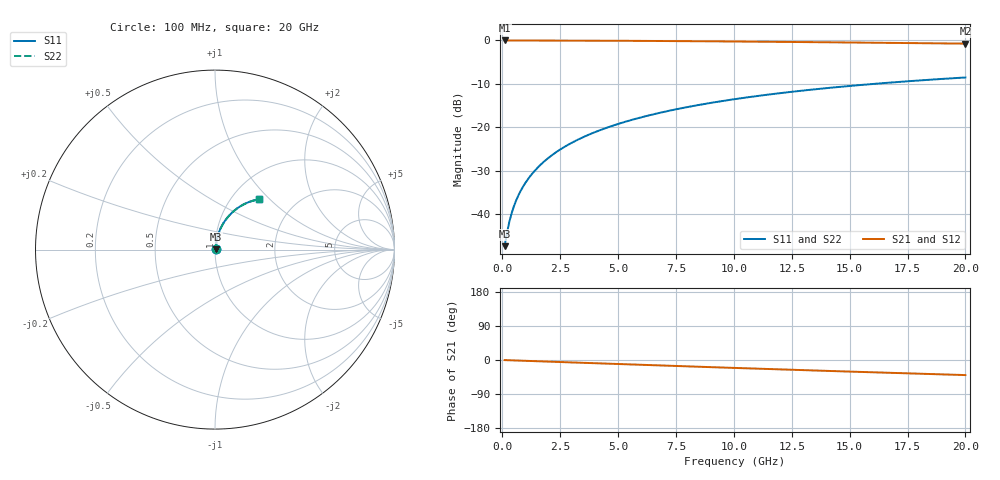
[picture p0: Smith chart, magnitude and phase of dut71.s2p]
! Touchstone file exported from HFSS 2026.1.0
!  File:  C:/ffzhzh/LocalFiles/Ansys_Project_Files/temp_train_BSMRDL_71_1782882875_8056.aedt
!  Generated:  01:15:50 PM Jul  1, 2026
!  Design:  BSMRDL
!  Project:  temp_train_BSMRDL_71_1782882875_8056
! Variables:
!  h_bsmrdl = 2.85um
!  h_ox = 20um
!  h_rdl = 5um
!  h_sub = 80um
!  h_tmrdl = 5um
!  h_tsv = 80um
!  h_via = 3um
!  l_bsmrdl = 565.92um
!  l_sub = 965.92um
!  l_tmrdl = 200um
!  m_sub = 200um
!  pitch = 47.1um
!  r_tsv = 6um
!  s_tmrdl = 10um
!  w_bsmrdl = 21.11um
!  w_sub = 500um
!  w_tmrdl = 12um
!  x_tsv_center1 = 206um
!  x_tsv_center2 = 793.03um
!  x_tsv_center3 = 1005.03um
!  x_tsv_center4 = 1592.06um
!  x_tsv_center5 = 1804.06um
!  x_tsv_center6 = 2391.09um
# GHz S MA R 50.000000
! Terminal data exported
! Port[1] = BSM_RDL1_1_T1
! Port[2] = BSM_RDL1_1_T2
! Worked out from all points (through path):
!   200 points, 100 MHz to 20 GHz, reference 50 ohm
!   highest |S21| = -0.03 dB at 100 MHz (marker M1); lowest = -0.8 dB at 20 GHz (marker M2)
!   group delay of S21, straight-line fit = 5.53 ps
!   lowest |S11| = -47.3 dB at 100 MHz (marker M3), VSWR 1.01, Z = 50.4 + j0.244 ohm
!   |S11| at or under -10 dB: start of sweep to 16.07 GHz
!   |S22| runs from -47.3 to -8.5 dB; largest |S21 - S12| = 2.6e-15
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0.1  0.004307 34.3  0.9964 -0.2  0.9964 -0.2  0.004307 34.3
! Gamma 0 0 0 0
! Port Impedance 50 0 50 0
0.2  0.006066 52.4  0.9963 -0.5  0.9963 -0.5  0.006066 52.4
0.3  0.008113 61.3  0.9962 -0.7  0.9962 -0.7  0.008113 61.3
0.4  0.01023 66.3  0.996 -0.9  0.996 -0.9  0.01023 66.3
0.5  0.01236 69.5  0.9958 -1.1  0.9958 -1.1  0.01236 69.5
0.6  0.01448 71.8  0.9957 -1.3  0.9957 -1.3  0.01448 71.8
0.8  0.01875 74.8  0.9955 -1.7  0.9955 -1.7  0.01875 74.8
1.1  0.02519 77.3  0.9952 -2.4  0.9952 -2.4  0.02519 77.3
1.3  0.02951 78.2  0.995 -2.8  0.995 -2.8  0.02951 78.2
1.6  0.03601 79.1  0.9947 -3.4  0.9947 -3.4  0.03601 79.1
2.1  0.04688 79.6  0.9941 -4.5  0.9941 -4.5  0.04688 79.6
2.7  0.05993 79.5  0.9932 -5.8  0.9932 -5.8  0.05993 79.4
3.5  0.07725 78.7  0.9918 -7.5  0.9918 -7.5  0.07725 78.6
4.2  0.0923 77.7  0.9903 -8.9  0.9903 -8.9  0.0923 77.6
5  0.1093 76.4  0.9882 -10.6  0.9882 -10.6  0.1093 76.3
5.9  0.1282 74.8  0.9856 -12.5  0.9856 -12.5  0.1282 74.7
6.8  0.1468 73.1  0.9826 -14.4  0.9826 -14.4  0.1468 73.1
8.3  0.1771 70.2  0.9769 -17.4  0.9769 -17.4  0.1771 70.2
10.1  0.212 66.8  0.9692 -21.1  0.9692 -21.1  0.212 66.7
13.4  0.2719 60.5  0.953 -27.5  0.953 -27.5  0.2719 60.5
16.7  0.326 54.5  0.9351 -33.8  0.9351 -33.8  0.326 54.4
20  0.3742 48.6  0.9164 -39.8  0.9164 -39.8  0.3742 48.5
